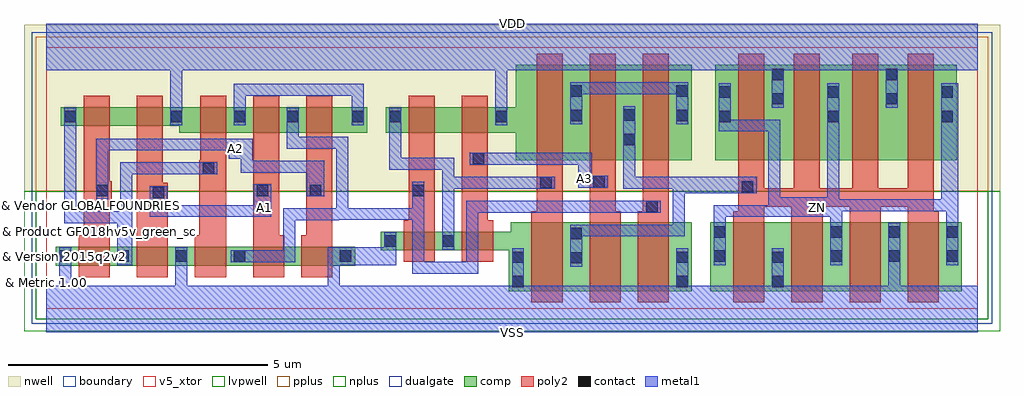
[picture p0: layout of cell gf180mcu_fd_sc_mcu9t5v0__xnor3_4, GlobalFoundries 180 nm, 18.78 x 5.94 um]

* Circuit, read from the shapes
.subckt gf180mcu_fd_sc_mcu9t5v0__xnor3_4 A1 A2 A3 VDD VSS ZN
XM1 n1 A2 VSS VSUBS nfet_05v0 w=0.36u l=0.6u
XM2 VSS A1 n1 VSUBS nfet_05v0 w=0.36u l=0.6u
XM3 n2 n1 VSS VSUBS nfet_05v0 w=0.36u l=0.6u
XM4 n3 A1 n2 VSUBS nfet_05v0 w=0.36u l=0.6u
XM5 VSS A2 n3 VSUBS nfet_05v0 w=0.36u l=0.6u
XM6 n4 n2 VSS VSUBS nfet_05v0 w=0.36u l=0.6u
XM7 VSS A3 n4 VSUBS nfet_05v0 w=0.36u l=0.6u
XM8 n5 n4 VSS VSUBS nfet_05v0 w=1.32u l=0.6u
XM9 n6 A3 n5 VSUBS nfet_05v0 w=1.32u l=0.6u
XM10 VSS n2 n6 VSUBS nfet_05v0 w=1.32u l=0.6u
XM11 VSS n5 ZN VSUBS nfet_05v0 w=1.32u l=0.6u m=4
XM12 n7 A2 n1 n8 pfet_05v0 w=0.36u l=0.5u
XM13 VDD A1 n7 n8 pfet_05v0 w=0.36u l=0.5u
XM14 n9 n1 VDD n8 pfet_05v0 w=0.495u l=0.5u
XM15 n2 A1 n9 n8 pfet_05v0 w=0.495u l=0.5u
XM16 n9 A2 n2 n8 pfet_05v0 w=0.495u l=0.5u
XM17 n10 n2 n4 n8 pfet_05v0 w=0.495u l=0.5u
XM18 VDD A3 n10 n8 pfet_05v0 w=0.495u l=0.5u
XM19 n11 n4 VDD n8 pfet_05v0 w=1.83u l=0.5u
XM20 n5 A3 n11 n8 pfet_05v0 w=1.83u l=0.5u
XM21 n11 n2 n5 n8 pfet_05v0 w=1.83u l=0.5u
XM22 VDD n5 ZN n8 pfet_05v0 w=1.83u l=0.5u m=4
.ends

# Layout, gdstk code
import gdstk
lib = gdstk.Library(unit=1e-6, precision=1e-09)
def R(c, l, rs):  # rectangles x0, y0, x1, y1
    for r in rs: c.add(gdstk.rectangle(r[:2], r[2:], *l))
def A(c, l, x, y, w, h, nx, ny, dx, dy):  # array of equal rectangles
    R(c, l, [(x+i*dx, y+j*dy, x+i*dx+w, y+j*dy+h) for i in range(nx) for j in range(ny)])
def P(c, l, *ps):  # polygons
    for p in ps: c.add(gdstk.Polygon(p, *l))
boundary = (0, 0)
nwell = (21, 0)
comp = (22, 0)
poly2 = (30, 0)
pplus = (31, 0)
nplus = (32, 0)
contact = (33, 0)
metal1 = (34, 0)
dualgate = (55, 0)
v5_xtor = (112, 1)
lvpwell = (204, 0)

gf180mcu_fd_sc_mcu9t5v0_ = lib.new_cell('gf180mcu_fd_sc_mcu9t5v0__xnor3_4')
R(gf180mcu_fd_sc_mcu9t5v0_, boundary, [(0,0,17.92,5.04)])
R(gf180mcu_fd_sc_mcu9t5v0_, nwell, [(-0.43,2.265,18.35,5.47)])
R(gf180mcu_fd_sc_mcu9t5v0_, comp, [(12.775,0.345,17.615,1.665), (0.18,0.835,5.94,1.195), (12.875,2.865,17.515,4.695)])
P(gf180mcu_fd_sc_mcu9t5v0_, comp, [(2.56,3.39),(2.56,3.525),(0.28,3.525),(0.28,3.885),(6.175,3.885),(6.175,3.39)],
  [(8.895,0.345),(8.895,1.13),(6.435,1.13),(6.435,1.49),(8.935,1.49),(8.935,1.665),(12.415,1.665),(12.415,0.345)],
  [(9.035,2.865),(9.035,3.39),(6.535,3.39),(6.535,3.885),(9.035,3.885),(9.035,4.695),(12.415,4.695),(12.415,2.865)])
P(gf180mcu_fd_sc_mcu9t5v0_, poly2, [(0.62,0.615),(0.62,1.415),(0.72,1.415),(0.72,4.105),(1.22,4.105),(1.22,2.455),(1.255,2.455),(1.255,2.095),(1.22,2.095),(1.22,0.615)],
  [(1.74,0.615),(1.74,4.105),(2.24,4.105),(2.24,2.425),(2.34,2.425),(2.34,0.615)],
  [(2.86,0.615),(2.86,1.415),(2.94,1.415),(2.94,2.865),(2.96,2.865),(2.96,4.105),(3.46,4.105),(3.46,0.615)],
  [(3.98,0.615),(3.98,4.105),(4.48,4.105),(4.48,1.415),(4.58,1.415),(4.58,0.615)],
  [(4.9,0.615),(4.9,1.415),(5,1.415),(5,4.105),(5.5,4.105),(5.5,0.615)],
  [(6.875,0.91),(6.875,1.71),(6.975,1.71),(6.975,4.105),(7.475,4.105),(7.475,0.91)],
  [(7.995,0.91),(7.995,4.105),(8.495,4.105),(8.495,1.71),(8.595,1.71),(8.595,0.91)],
  [(9.335,0.125),(9.335,1.885),(9.435,1.885),(9.435,4.915),(9.935,4.915),(9.935,0.125)],
  [(10.455,0.125),(10.455,4.915),(10.955,4.915),(10.955,1.885),(11.055,1.885),(11.055,0.125)],
  [(11.375,0.125),(11.375,1.885),(11.475,1.885),(11.475,4.915),(11.975,4.915),(11.975,0.125)],
  [(13.215,0.125),(13.215,1.885),(13.315,1.885),(13.315,4.915),(13.815,4.915),(13.815,2.325),(14.385,2.325),(14.385,4.915),(14.885,4.915),(14.885,2.325),(15.505,2.325),(15.505,4.915),(16.005,4.915),(16.005,2.325),(16.575,2.325),(16.575,4.915),(17.075,4.915),(17.075,1.885),(17.175,1.885),(17.175,0.125),(16.575,0.125),(16.575,1.965),(16.055,1.965),(16.055,0.125),(15.455,0.125),(15.455,1.965),(14.935,1.965),(14.935,0.125),(14.335,0.125),(14.335,1.965),(13.815,1.965),(13.815,0.125)])
R(gf180mcu_fd_sc_mcu9t5v0_, pplus, [(-0.2,2.265,18.12,5.24)])
R(gf180mcu_fd_sc_mcu9t5v0_, nplus, [(-0.2,-0.2,18.12,2.265)])
A(gf180mcu_fd_sc_mcu9t5v0_, contact, 0.25, 0.905, 0.22, 0.22, 4, 1, 1.12, 0)
A(gf180mcu_fd_sc_mcu9t5v0_, contact, 15.085, 0.905, 0.22, 0.22, 3, 2, 1.12, 0.47)
R(gf180mcu_fd_sc_mcu9t5v0_, contact, [(8.965,0.415,9.185,0.635), (12.125,0.415,12.345,0.635), (13.965,0.415,14.185,0.635), (10.085,0.875,10.305,1.095), (8.965,0.885,9.185,1.105), (12.125,0.885,12.345,1.105), (13.965,0.885,14.185,1.105), (5.65,0.905,5.87,1.125), (12.845,0.905,13.065,1.125), (6.505,1.2,6.725,1.42), (7.625,1.2,7.845,1.42), (10.085,1.345,10.305,1.565), (12.845,1.375,13.065,1.595), (11.545,1.86,11.765,2.08), (2.05,2.135,2.27,2.355), (0.965,2.17,1.185,2.39), (4.05,2.17,4.27,2.39), (5.07,2.17,5.29,2.39), (7.045,2.17,7.265,2.39), (13.385,2.235,13.605,2.455), (9.505,2.32,9.725,2.54), (10.525,2.335,10.745,2.555), (3.01,2.595,3.23,2.815), (8.205,2.78,8.425,3), (11.105,3.15,11.325,3.37), (0.35,3.595,0.57,3.815), (2.39,3.595,2.61,3.815), (3.61,3.595,3.83,3.815), (4.63,3.595,4.85,3.815), (5.885,3.595,6.105,3.815), (6.605,3.595,6.825,3.815), (8.645,3.595,8.865,3.815), (12.945,3.595,13.165,3.815), (15.035,3.595,15.255,3.815), (17.225,3.595,17.445,3.815), (10.085,3.61,10.305,3.83), (12.125,3.61,12.345,3.83), (11.105,3.62,11.325,3.84), (13.965,3.935,14.185,4.155), (16.155,3.935,16.375,4.155), (12.945,4.065,13.165,4.285), (15.035,4.065,15.255,4.285), (17.225,4.065,17.445,4.285), (10.085,4.08,10.305,4.3), (12.125,4.08,12.345,4.3), (13.965,4.405,14.185,4.625), (16.155,4.405,16.375,4.625)])
P(gf180mcu_fd_sc_mcu9t5v0_, metal1, [(1.365,0.845),(1.365,1.65),(0.345,1.65),(0.345,3.875),(0.575,3.875),(0.575,1.88),(1.42,1.88),(1.42,2.82),(3.29,2.82),(3.29,2.59),(1.65,2.59),(1.65,0.845)],
  [(1.99,1.77),(1.99,2.36),(2.33,2.36),(2.33,2),(3.99,2),(3.99,2.395),(4.33,2.395),(4.33,1.77)],
  [(0.96,2.11),(0.96,3.28),(3.97,3.28),(3.97,2.855),(5.35,2.855),(5.35,2.165),(5.01,2.165),(5.01,2.625),(3.74,2.625),(3.74,2.89),(3.51,2.89),(3.51,3.05),(1.19,3.05),(1.19,2.11)],
  [(3.605,3.535),(3.605,4.335),(6.11,4.335),(6.11,3.535),(5.88,3.535),(5.88,4.105),(3.835,4.105),(3.835,3.535)],
  [(7.62,1.14),(7.62,2.68),(6.6,2.68),(6.6,3.875),(6.83,3.875),(6.83,2.91),(7.85,2.91),(7.85,2.545),(9.785,2.545),(9.785,2.315),(7.85,2.315),(7.85,1.14)],
  [(10.23,2.33),(10.23,2.775),(8.145,2.775),(8.145,3.005),(10.49,3.005),(10.49,2.56),(10.805,2.56),(10.805,2.33)],
  [(7.04,0.68),(7.04,1.71),(5.63,1.71),(5.63,1.705),(4.79,1.705),(4.79,0.9),(3.55,0.9),(3.55,1.13),(4.56,1.13),(4.56,1.935),(5.58,1.935),(5.58,3.085),(4.625,3.085),(4.625,3.875),(4.855,3.875),(4.855,3.315),(5.81,3.315),(5.81,1.94),(7.04,1.94),(7.04,2.45),(7.27,2.45),(7.27,0.91),(8.08,0.91),(8.08,2.085),(11.825,2.085),(11.825,1.855),(8.31,1.855),(8.31,0.68)],
  [(10.08,3.55),(10.08,4.36),(12.35,4.36),(12.35,3.55),(12.12,3.55),(12.12,4.13),(10.31,4.13),(10.31,3.55)],
  [(10.08,0.815),(10.08,1.625),(12.055,1.625),(12.055,2.315),(11.1,2.315),(11.1,3.9),(11.33,3.9),(11.33,2.545),(13.665,2.545),(13.665,2.23),(12.285,2.23),(12.285,1.395),(10.31,1.395),(10.31,0.815)],
  [(12.84,0.845),(12.84,2),(13.895,2),(13.895,3.415),(12.94,3.415),(12.94,4.345),(13.17,4.345),(13.17,3.645),(14.125,3.645),(14.125,2.15),(15.03,2.15),(15.03,4.345),(15.26,4.345),(15.26,2.115),(17.22,2.115),(17.22,4.345),(17.55,4.345),(17.55,0.845),(17.32,0.845),(17.32,1.885),(15.31,1.885),(15.31,0.845),(15.08,0.845),(15.08,1.77),(13.07,1.77),(13.07,0.845)],
  [(0,-0.45),(0,0.45),(0.245,0.45),(0.245,1.185),(0.475,1.185),(0.475,0.45),(2.485,0.45),(2.485,1.185),(2.715,1.185),(2.715,0.45),(5.415,0.45),(5.415,1.185),(6.5,1.185),(6.5,1.48),(6.73,1.48),(6.73,0.845),(5.645,0.845),(5.645,0.45),(8.96,0.45),(8.96,1.165),(9.19,1.165),(9.19,0.45),(12.12,0.45),(12.12,1.165),(12.35,1.165),(12.35,0.45),(13.96,0.45),(13.96,1.165),(14.19,1.165),(14.19,0.45),(16.2,0.45),(16.2,1.655),(16.43,1.655),(16.43,0.45),(17.92,0.45),(17.92,-0.45)],
  [(2.385,3.535),(2.385,4.59),(0,4.59),(0,5.49),(17.92,5.49),(17.92,4.59),(16.38,4.59),(16.38,3.875),(16.15,3.875),(16.15,4.59),(14.19,4.59),(14.19,3.875),(13.96,3.875),(13.96,4.59),(8.87,4.59),(8.87,3.535),(8.64,3.535),(8.64,4.59),(2.615,4.59),(2.615,3.535)])
R(gf180mcu_fd_sc_mcu9t5v0_, dualgate, [(-0.28,-0.28,18.2,5.32)])
R(gf180mcu_fd_sc_mcu9t5v0_, v5_xtor, [(0,0,17.92,5.04)])
R(gf180mcu_fd_sc_mcu9t5v0_, lvpwell, [(-0.43,-0.43,18.35,2.265)])
gf180mcu_fd_sc_mcu9t5v0_.add(gdstk.Label('A1', (4.2,1.96), layer=34, texttype=10))
gf180mcu_fd_sc_mcu9t5v0_.add(gdstk.Label('A2', (3.64,3.08), layer=34, texttype=10))
gf180mcu_fd_sc_mcu9t5v0_.add(gdstk.Label('A3', (10.36,2.52), layer=34, texttype=10))
gf180mcu_fd_sc_mcu9t5v0_.add(gdstk.Label('VDD', (8.96,5.49), layer=34, texttype=10))
gf180mcu_fd_sc_mcu9t5v0_.add(gdstk.Label('VSS', (8.96,-0.45), layer=34, texttype=10))
gf180mcu_fd_sc_mcu9t5v0_.add(gdstk.Label('ZN', (14.84,1.96), layer=34, texttype=10))
gf180mcu_fd_sc_mcu9t5v0_.add(gdstk.Label('& Vendor GLOBALFOUNDRIES', (0,2), layer=63, texttype=63))
gf180mcu_fd_sc_mcu9t5v0_.add(gdstk.Label('& Product GF018hv5v_green_sc9', (0,1.5), layer=63, texttype=63))
gf180mcu_fd_sc_mcu9t5v0_.add(gdstk.Label('& Version 2015q2v2', (0,1), layer=63, texttype=63))
gf180mcu_fd_sc_mcu9t5v0_.add(gdstk.Label('& Metric 1.00', (0,0.5), layer=63, texttype=63))

lib.write_gds('gf180mcu_fd_sc_mcu9t5v0__xnor3_4.gds')
